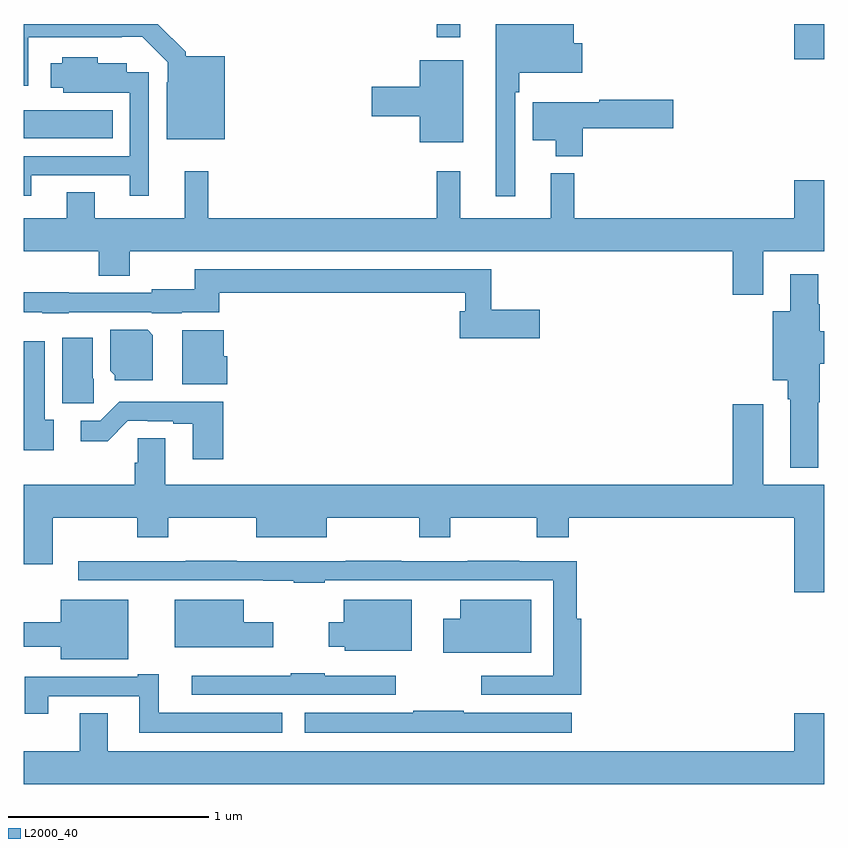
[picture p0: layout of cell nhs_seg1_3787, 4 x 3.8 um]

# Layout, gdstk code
import gdstk
lib = gdstk.Library(unit=1e-6, precision=1e-09)
def R(c, l, rs):  # rectangles x0, y0, x1, y1
    for r in rs: c.add(gdstk.rectangle(r[:2], r[2:], *l))
def P(c, l, *ps):  # polygons
    for p in ps: c.add(gdstk.Polygon(p, *l))
L2000_40 = (2000, 40)

nhs_seg1_3787 = lib.new_cell('nhs_seg1_3787')
R(nhs_seg1_3787, L2000_40, [(317,553.628,317.444,553.768), (320.852,554.022,321,554.199), (319.063,554.133,319.18,554.199)])
P(nhs_seg1_3787, L2000_40, [(318.004,554.038),(317.808,554.038),(317.808,554.061),(317.67,554.199),(317,554.199),(317,553.89),(317.022,553.89),(317.022,554.133),(317.489,554.133),(317.489,554.135),(317.591,554.135),(317.718,554.007),(317.718,553.907),(317.714,553.907),(317.714,553.622),(318.004,553.622)],
  [(319.455,553.859),(319.475,553.859),(319.475,553.955),(319.792,553.955),(319.792,554.103),(319.748,554.103),(319.748,554.199),(319.358,554.199),(319.358,553.338),(319.455,553.338)],
  [(317.038,553.443),(317.528,553.443),(317.528,553.341),(317.625,553.341),(317.625,553.959),(317.515,553.959),(317.515,554.002),(317.368,554.002),(317.368,554.032),(317.192,554.032),(317.192,554.002),(317.135,554.002),(317.135,553.88),(317.196,553.88),(317.196,553.856),(317.529,553.856),(317.529,553.539),(317,553.539),(317,553.341),(317.038,553.341)],
  [(319.195,554.017),(318.98,554.017),(318.98,553.886),(318.738,553.886),(318.738,553.739),(318.98,553.739),(318.98,553.607),(319.195,553.607)],
  [(319.793,553.678),(320.245,553.678),(320.245,553.82),(319.876,553.82),(319.876,553.807),(319.544,553.807),(319.544,553.619),(319.658,553.619),(319.658,553.538),(319.793,553.538)],
  [(320.695,553.064),(321,553.064),(321,553.417),(320.852,553.417),(320.852,553.228),(319.751,553.228),(319.751,553.453),(319.634,553.453),(319.634,553.228),(319.181,553.228),(319.181,553.462),(319.063,553.462),(319.063,553.228),(317.921,553.228),(317.921,553.462),(317.804,553.462),(317.804,553.228),(317.353,553.228),(317.353,553.358),(317.213,553.358),(317.213,553.228),(317,553.228),(317,553.064),(317.374,553.064),(317.374,552.94),(317.529,552.94),(317.529,553.064),(320.543,553.064),(320.543,552.846),(320.695,552.846)],
  [(319.579,552.771),(319.337,552.771),(319.337,552.972),(317.853,552.972),(317.853,552.874),(317.64,552.874),(317.64,552.855),(317.223,552.855),(317.223,552.857),(317,552.857),(317,552.758),(317.091,552.758),(317.091,552.752),(317.223,552.752),(317.223,552.759),(317.64,552.759),(317.64,552.752),(317.79,552.752),(317.79,552.758),(317.977,552.758),(317.977,552.856),(319.205,552.856),(319.205,552.763),(319.178,552.763),(319.178,552.629),(319.579,552.629)],
  [(320.971,552.307),(320.979,552.307),(320.979,552.5),(321,552.5),(321,552.664),(320.979,552.664),(320.979,552.798),(320.971,552.798),(320.971,552.949),(320.831,552.949),(320.831,552.763),(320.744,552.763),(320.744,552.419),(320.819,552.419),(320.819,552.323),(320.831,552.323),(320.831,551.981),(320.971,551.981)],
  [(317.644,552.644),(317.618,552.67),(317.432,552.67),(317.432,552.466),(317.454,552.444),(317.454,552.419),(317.644,552.419)],
  [(318.016,552.537),(317.998,552.537),(317.998,552.668),(317.792,552.668),(317.792,552.398),(318.016,552.398)],
  [(317.348,552.426),(317.344,552.426),(317.344,552.631),(317.192,552.631),(317.192,552.303),(317.348,552.303)],
  [(317.149,552.222),(317.104,552.222),(317.104,552.613),(317,552.613),(317,552.068),(317.149,552.068)],
  [(317.996,552.31),(317.476,552.31),(317.382,552.216),(317.283,552.216),(317.283,552.114),(317.418,552.114),(317.52,552.216),(317.62,552.216),(317.62,552.213),(317.747,552.213),(317.747,552.201),(317.843,552.201),(317.843,552.024),(317.996,552.024)],
  [(321,551.896),(320.695,551.896),(320.695,552.298),(320.543,552.298),(320.543,551.896),(317.707,551.896),(317.707,552.128),(317.568,552.128),(317.568,552.006),(317.555,552.006),(317.555,551.896),(317,551.896),(317,551.499),(317.143,551.499),(317.143,551.732),(317.566,551.732),(317.566,551.633),(317.721,551.633),(317.721,551.732),(318.161,551.732),(318.161,551.633),(318.514,551.633),(318.514,551.732),(318.976,551.732),(318.976,551.633),(319.131,551.633),(319.131,551.732),(319.564,551.732),(319.564,551.633),(319.724,551.633),(319.724,551.732),(320.852,551.732),(320.852,551.358),(321,551.358)],
  [(319.787,551.227),(319.763,551.227),(319.763,551.514),(319.475,551.514),(319.475,551.516),(319.219,551.516),(319.219,551.514),(318.887,551.514),(318.887,551.516),(318.61,551.516),(318.61,551.514),(318.065,551.514),(318.065,551.516),(317.809,551.516),(317.809,551.514),(317.271,551.514),(317.271,551.418),(318.196,551.418),(318.196,551.417),(318.35,551.417),(318.35,551.406),(318.503,551.406),(318.503,551.418),(319.647,551.418),(319.647,550.941),(319.287,550.941),(319.287,550.845),(319.787,550.845)],
  [(318.94,551.32),(318.599,551.32),(318.599,551.209),(318.524,551.209),(318.524,551.087),(318.603,551.087),(318.603,551.066),(318.94,551.066)],
  [(319.537,551.32),(319.181,551.32),(319.181,551.227),(319.097,551.227),(319.097,551.057),(319.537,551.057)],
  [(318.247,551.209),(318.1,551.209),(318.1,551.32),(317.753,551.32),(317.753,551.084),(318.247,551.084)],
  [(317.521,551.32),(317.183,551.32),(317.183,551.209),(317,551.209),(317,551.087),(317.183,551.087),(317.183,551.024),(317.521,551.024)],
  [(318.859,550.941),(318.503,550.941),(318.503,550.954),(318.334,550.954),(318.334,550.942),(317.838,550.942),(317.838,550.845),(318.859,550.845)],
  [(318.292,550.756),(317.674,550.756),(317.674,550.948),(317.57,550.948),(317.57,550.935),(317.005,550.935),(317.005,550.752),(317.122,550.752),(317.122,550.839),(317.576,550.839),(317.576,550.655),(318.292,550.655)],
  [(319.738,550.756),(319.199,550.756),(319.199,550.766),(318.946,550.766),(318.946,550.756),(318.405,550.756),(318.405,550.655),(319.738,550.655)],
  [(321,550.753),(320.852,550.753),(320.852,550.564),(317.419,550.564),(317.419,550.754),(317.279,550.754),(317.279,550.564),(317,550.564),(317,550.4),(321,550.4)])

lib.write_gds('nhs_seg1_3787.gds')
